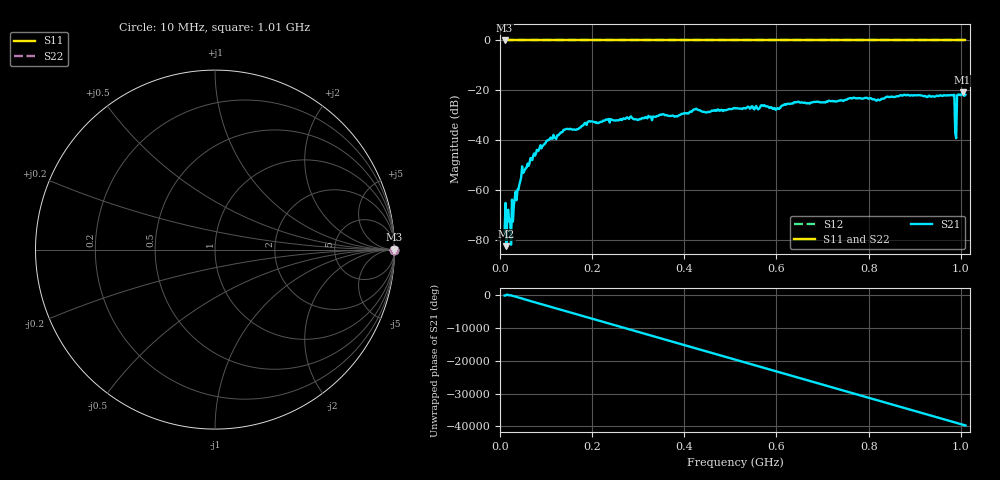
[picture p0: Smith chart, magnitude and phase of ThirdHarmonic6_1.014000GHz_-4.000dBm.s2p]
! 8/16/2025 8:23:30 AM
! C:\ANRITSUVNA\TEMP\TEMP.S2P
! CHANNEL.1
! TR.MEASUREMENT
! RAW.DATA
! RF.CORRECTION.OFF
! AVERAGING.OFF
! IF.BANDWIDTH: 5KHZ
! SWEEPTYPE:  FREQ.SWEEP(Linear)
! Reference Plane Port Info
! PORT:  PORT1  PORT2
! DISTANCE:  0  m  0  m
! TIME:  0  s  0  s
! PHASE.OFFSET:  0  deg.  0  deg.
! LOSS:  0  dB  0  dB
! REF.LOSS:  0  dB  0  dB
! REF.FREQ:  0  Hz  0  Hz
! Power Info
! POWER:  -20  dBm  -20  dBm
! EFF.POWER:  -20  dBm  -20  dBm
! SOURCE.ATTEN:  0  dB  0  dB
! TEST.ATTEN:  0  dB  0  dB
# GHZ S RI R 50.0
! FREQ.GHZ  S11RE  S11IM  S21RE  S21IM  S12RE  S12IM  S22RE  S22IM
!; PortSelection: Port_12
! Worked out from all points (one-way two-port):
!   501 points, 10 MHz to 1.01 GHz, reference 50 ohm
!   highest |S21| = -20.76 dB at 1.004 GHz (marker M1); lowest = -82.5 dB at 14 MHz (marker M2)
!   lowest |S11| = 0.0 dB at 10 MHz (marker M3)
!   |S11| at or under -10 dB: nowhere
!   |S22| runs from 0.0 to 0.0 dB; largest |S21 - S12| = 1.1
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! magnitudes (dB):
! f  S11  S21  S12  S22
! 10 MHz  0.0  -76.8  0.0  0.0
! 14 MHz  0.0  -82.5  0.0  0.0
! 24 MHz  0.0  -81.9  0.0  0.0
! 28 MHz  0.0  -72.6  0.0  0.0
! 30 MHz  0.0  -66.2  0.0  0.0
! 32 MHz  0.0  -63.3  0.0  0.0
! 48 MHz  0.0  -50.4  0.0  0.0
! 84 MHz  0.0  -44.1  0.0  0.0
! 142 MHz  0.0  -35.6  0.0  0.0
! 178 MHz  0.0  -34.2  0.0  0.0
! 196 MHz  0.0  -32.5  0.0  0.0
! 344 MHz  0.0  -30.2  0.0  0.0
! 510 MHz  0.0  -27.1  0.0  0.0
! 602 MHz  0.0  -27.1  0.0  0.0
! 678 MHz  0.0  -24.8  0.0  0.0
! 844 MHz  0.0  -22.7  0.0  0.0
! 982 MHz  0.0  -22.0  0.0  0.0
! 986 MHz  0.0  -21.8  0.0  0.0
! 992 MHz  0.0  -21.9  0.0  0.0
! 996 MHz  0.0  -21.6  0.0  0.0
! 1.004 GHz  0.0  -20.8  0.0  0.0
! 1.01 GHz  0.0  -21.7  0.0  0.0
